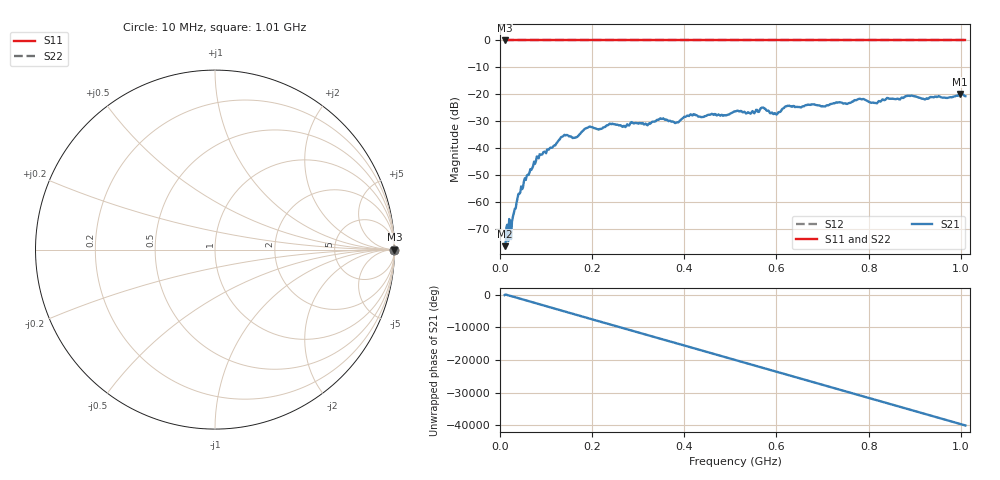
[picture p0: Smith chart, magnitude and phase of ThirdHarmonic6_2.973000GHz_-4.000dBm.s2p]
! 8/17/2025 8:25:18 AM
! C:\ANRITSUVNA\TEMP\TEMP.S2P
! CHANNEL.1
! TR.MEASUREMENT
! RAW.DATA
! RF.CORRECTION.OFF
! AVERAGING.OFF
! IF.BANDWIDTH: 5KHZ
! SWEEPTYPE:  FREQ.SWEEP(Linear)
! Reference Plane Port Info
! PORT:  PORT1  PORT2
! DISTANCE:  0  m  0  m
! TIME:  0  s  0  s
! PHASE.OFFSET:  0  deg.  0  deg.
! LOSS:  0  dB  0  dB
! REF.LOSS:  0  dB  0  dB
! REF.FREQ:  0  Hz  0  Hz
! Power Info
! POWER:  -20  dBm  -20  dBm
! EFF.POWER:  -20  dBm  -20  dBm
! SOURCE.ATTEN:  0  dB  0  dB
! TEST.ATTEN:  0  dB  0  dB
# GHZ S RI R 50.0
! FREQ.GHZ  S11RE  S11IM  S21RE  S21IM  S12RE  S12IM  S22RE  S22IM
!; PortSelection: Port_12
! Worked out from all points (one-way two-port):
!   501 points, 10 MHz to 1.01 GHz, reference 50 ohm
!   highest |S21| = -19.89 dB at 998 MHz (marker M1); lowest = -76.3 dB at 10 MHz (marker M2)
!   lowest |S11| = 0.0 dB at 10 MHz (marker M3)
!   |S11| at or under -10 dB: nowhere
!   |S22| runs from 0.0 to 0.0 dB; largest |S21 - S12| = 1.1
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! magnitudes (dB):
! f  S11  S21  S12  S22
! 10 MHz  0.0  -76.3  0.0  0.0
! 18 MHz  0.0  -74.4  0.0  0.0
! 22 MHz  0.0  -67.8  0.0  0.0
! 28 MHz  0.0  -65.3  0.0  0.0
! 42 MHz  0.0  -56.8  0.0  0.0
! 78 MHz  0.0  -44.7  0.0  0.0
! 136 MHz  0.0  -35.6  0.0  0.0
! 162 MHz  0.0  -36.1  0.0  0.0
! 178 MHz  0.0  -33.7  0.0  0.0
! 194 MHz  0.0  -32.0  0.0  0.0
! 322 MHz  0.0  -31.1  0.0  0.0
! 344 MHz  0.0  -29.4  0.0  0.0
! 384 MHz  0.0  -30.4  0.0  0.0
! 410 MHz  0.0  -28.0  0.0  0.0
! 510 MHz  0.0  -26.3  0.0  0.0
! 570 MHz  0.0  -24.9  0.0  0.0
! 598 MHz  0.0  -27.0  0.0  0.0
! 624 MHz  0.0  -24.2  0.0  0.0
! 678 MHz  0.0  -23.7  0.0  0.0
! 844 MHz  0.0  -21.6  0.0  0.0
! 998 MHz  0.0  -19.9  0.0  0.0
! 1.01 GHz  0.0  -20.6  0.0  0.0
